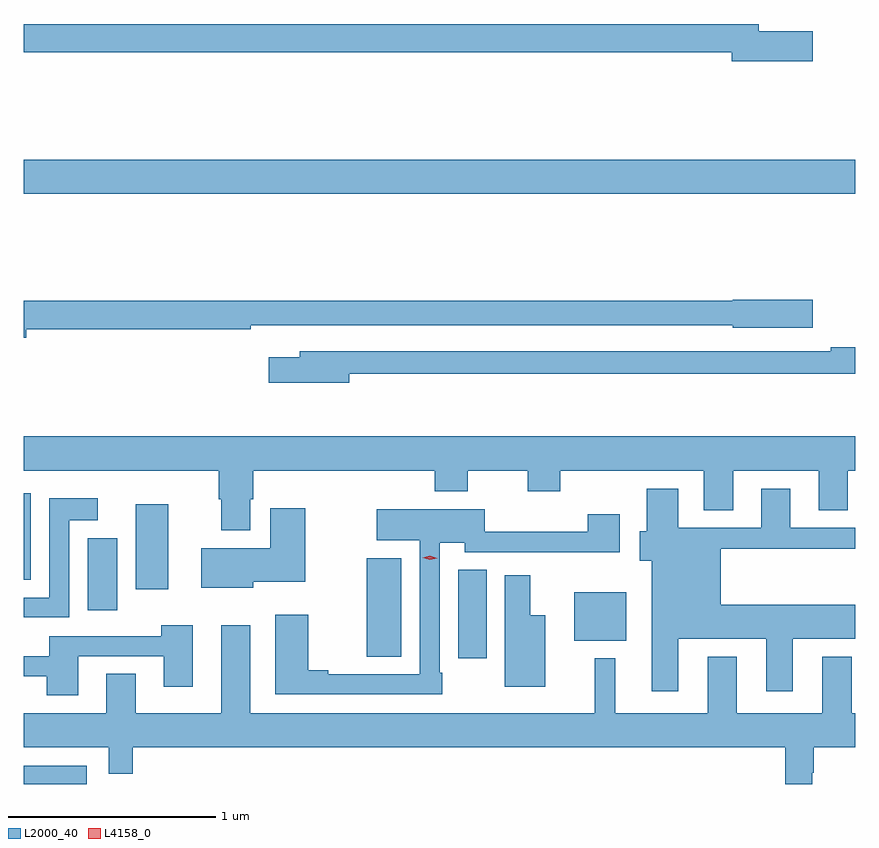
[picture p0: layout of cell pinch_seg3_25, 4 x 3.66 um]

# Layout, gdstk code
import gdstk
lib = gdstk.Library(unit=1e-6, precision=1e-09)
def R(c, l, rs):  # rectangles x0, y0, x1, y1
    for r in rs: c.add(gdstk.rectangle(r[:2], r[2:], *l))
def P(c, l, *ps):  # polygons
    for p in ps: c.add(gdstk.Polygon(p, *l))
L2000_40 = (2000, 40)
L4158_0 = (4158, 0)

pinch_seg3_25 = lib.new_cell('pinch_seg3_25')
R(pinch_seg3_25, L2000_40, [(1102.329,732.708,1102.632,732.795), (1104.419,733.314,1104.556,733.739), (1103.978,733.321,1104.145,733.795), (1104.977,733.397,1105.228,733.63), (1102.637,733.545,1102.78,733.891), (1102.868,733.644,1103.023,734.053), (1102.329,733.691,1102.363,734.107), (1102.329,735.548,1106.329,735.712)])
P(pinch_seg3_25, L2000_40, [(1106.125,736.328),(1105.864,736.328),(1105.864,736.364),(1102.329,736.364),(1102.329,736.228),(1105.736,736.228),(1105.736,736.186),(1106.125,736.186)],
  [(1102.342,734.896),(1103.42,734.896),(1103.42,734.916),(1105.74,734.916),(1105.74,734.903),(1106.125,734.903),(1106.125,735.038),(1105.74,735.038),(1105.74,735.032),(1102.329,735.032),(1102.329,734.854),(1102.342,734.854)],
  [(1103.896,734.682),(1106.329,734.682),(1106.329,734.81),(1106.212,734.81),(1106.212,734.79),(1103.657,734.79),(1103.657,734.761),(1103.508,734.761),(1103.508,734.639),(1103.896,734.639)],
  [(1103.419,734.078),(1103.432,734.078),(1103.432,734.216),(1104.305,734.216),(1104.305,734.117),(1104.465,734.117),(1104.465,734.216),(1104.754,734.216),(1104.754,734.117),(1104.909,734.117),(1104.909,734.216),(1105.601,734.216),(1105.601,734.026),(1105.741,734.026),(1105.741,734.216),(1106.153,734.216),(1106.153,734.026),(1106.293,734.026),(1106.293,734.216),(1106.329,734.216),(1106.329,734.38),(1102.329,734.38),(1102.329,734.216),(1103.267,734.216),(1103.267,734.078),(1103.279,734.078),(1103.279,733.928),(1103.419,733.928)],
  [(1105.477,733.406),(1105.901,733.406),(1105.901,733.155),(1106.029,733.155),(1106.029,733.406),(1106.329,733.406),(1106.329,733.57),(1105.681,733.57),(1105.681,733.84),(1106.329,733.84),(1106.329,733.941),(1106.017,733.941),(1106.017,734.128),(1105.877,734.128),(1105.877,733.941),(1105.477,733.941),(1105.477,734.128),(1105.325,734.128),(1105.325,733.923),(1105.292,733.923),(1105.292,733.781),(1105.349,733.781),(1105.349,733.155),(1105.477,733.155)],
  [(1102.548,733.976),(1102.684,733.976),(1102.684,734.083),(1102.452,734.083),(1102.452,733.605),(1102.329,733.605),(1102.329,733.509),(1102.548,733.509)],
  [(1103.434,733.682),(1103.682,733.682),(1103.682,734.035),(1103.516,734.035),(1103.516,733.843),(1103.183,733.843),(1103.183,733.652),(1103.434,733.652)],
  [(1104.343,733.243),(1104.33,733.243),(1104.33,733.868),(1104.45,733.868),(1104.45,733.824),(1104.959,733.824),(1104.959,733.823),(1105.195,733.823),(1105.195,734.005),(1105.043,734.005),(1105.043,733.922),(1104.546,733.922),(1104.546,734.029),(1104.027,734.029),(1104.027,733.88),(1104.234,733.88),(1104.234,733.236),(1103.794,733.236),(1103.794,733.256),(1103.698,733.256),(1103.698,733.522),(1103.54,733.522),(1103.54,733.14),(1104.343,733.14)],
  [(1104.838,733.519),(1104.766,733.519),(1104.766,733.711),(1104.644,733.711),(1104.644,733.175),(1104.838,733.175)],
  [(1102.591,733.323),(1103.003,733.323),(1103.003,733.176),(1103.143,733.176),(1103.143,733.471),(1102.991,733.471),(1102.991,733.419),(1102.451,733.419),(1102.451,733.323),(1102.329,733.323),(1102.329,733.226),(1102.439,733.226),(1102.439,733.134),(1102.591,733.134)],
  [(1106.122,732.761),(1106.129,732.761),(1106.129,732.884),(1106.329,732.884),(1106.329,733.048),(1106.311,733.048),(1106.311,733.321),(1106.171,733.321),(1106.171,733.048),(1105.759,733.048),(1105.759,733.321),(1105.619,733.321),(1105.619,733.048),(1105.174,733.048),(1105.174,733.312),(1105.075,733.312),(1105.075,733.048),(1103.419,733.048),(1103.419,733.471),(1103.279,733.471),(1103.279,733.048),(1102.867,733.048),(1102.867,733.238),(1102.727,733.238),(1102.727,733.048),(1102.329,733.048),(1102.329,732.884),(1102.737,732.884),(1102.737,732.757),(1102.853,732.757),(1102.853,732.884),(1105.993,732.884),(1105.993,732.708),(1106.122,732.708)])
P(pinch_seg3_25, L4158_0, [(1104.283,733.786),(1104.248,733.796),(1104.248,733.796),(1104.248,733.797),(1104.283,733.806),(1104.318,733.795),(1104.318,733.795),(1104.318,733.795)])

lib.write_gds('pinch_seg3_25.gds')
